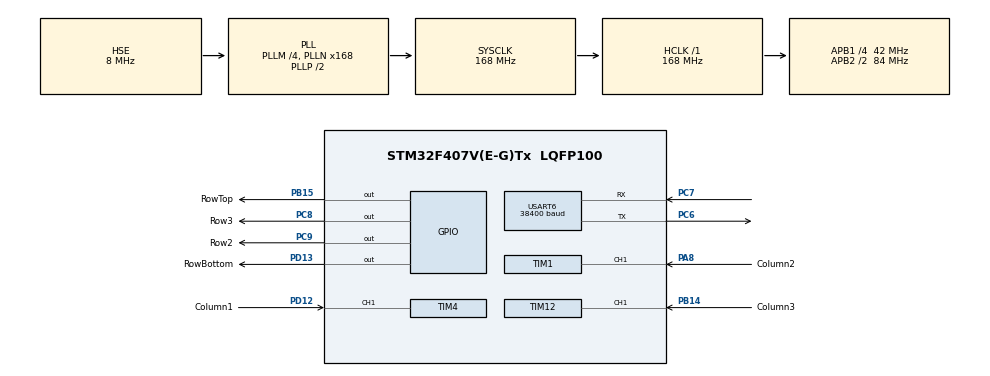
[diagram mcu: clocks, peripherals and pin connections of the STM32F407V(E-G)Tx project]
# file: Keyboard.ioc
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Dma.Request0=USART6_RX
Dma.USART6_RX.0.Direction=DMA_PERIPH_TO_MEMORY
Dma.USART6_RX.0.FIFOMode=DMA_FIFOMODE_DISABLE
Dma.USART6_RX.0.Instance=DMA2_Stream2
Dma.USART6_RX.0.MemDataAlignment=DMA_MDATAALIGN_BYTE
Dma.USART6_RX.0.MemInc=DMA_MINC_ENABLE
Dma.USART6_RX.0.Mode=DMA_NORMAL
Dma.USART6_RX.0.PeriphDataAlignment=DMA_PDATAALIGN_BYTE
Dma.USART6_RX.0.PeriphInc=DMA_PINC_DISABLE
Dma.USART6_RX.0.Priority=DMA_PRIORITY_LOW
FREERTOS.Tasks01=defaultTask,0,128,StartDefaultTask,Default
Mcu.Family=STM32F4
Mcu.Name=STM32F407V(E-G)Tx
Mcu.Package=LQFP100
NVIC.DMA2_Stream2_IRQn=true\:5\:0\:true\:false\:true\:false
NVIC.PriorityGroup=NVIC_PRIORITYGROUP_4
NVIC.TIM1_CC_IRQn=true\:5\:0\:false\:false\:true\:true
NVIC.TIM3_IRQn=true\:5\:0\:true\:false\:true\:false
NVIC.TIM4_IRQn=true\:5\:0\:true\:false\:true\:false
NVIC.TIM8_BRK_TIM12_IRQn=true\:5\:0\:false\:false\:true\:true
NVIC.USART6_IRQn=true\:5\:0\:false\:false\:true\:true
PA8.GPIO_Label=Column2
PA8.GPIO_PuPd=GPIO_PULLDOWN
PA8.Signal=S_TIM1_CH1
PB14.GPIO_Label=Column3
PB14.GPIO_PuPd=GPIO_PULLDOWN
PB14.Signal=S_TIM12_CH1
PB15.GPIO_Label=RowTop
PB15.Signal=GPIO_Output
PC6.Mode=Asynchronous
PC6.Signal=USART6_TX
PC7.Mode=Asynchronous
PC7.Signal=USART6_RX
PC8.GPIO_Label=Row3
PC8.Signal=GPIO_Output
PC9.GPIO_Label=Row2
PC9.Signal=GPIO_Output
PD12.GPIO_Label=Column1
PD12.GPIO_PuPd=GPIO_PULLDOWN
PD12.Signal=S_TIM4_CH1
PD13.GPIO_Label=RowBottom
PD13.Signal=GPIO_Output
PH0-OSC_IN.Mode=HSE-External-Oscillator
PH0-OSC_IN.Signal=RCC_OSC_IN
PH1-OSC_OUT.Mode=HSE-External-Oscillator
PH1-OSC_OUT.Signal=RCC_OSC_OUT
ProjectManager.HeapSize=0x200
ProjectManager.StackSize=0x400
ProjectManager.TargetToolchain=MDK-ARM V5
RCC.48MHZClocksFreq_Value=84000000
RCC.AHBFreq_Value=168000000
RCC.APB1CLKDivider=RCC_HCLK_DIV4
RCC.APB1Freq_Value=42000000
RCC.APB1TimFreq_Value=84000000
RCC.APB2CLKDivider=RCC_HCLK_DIV2
RCC.APB2Freq_Value=84000000
RCC.APB2TimFreq_Value=168000000
RCC.CortexFreq_Value=168000000
RCC.HCLKFreq_Value=168000000
RCC.HSE_VALUE=8000000
RCC.HSI_VALUE=16000000
RCC.LSE_VALUE=32768
RCC.PLLM=4
RCC.PLLN=168
RCC.PLLSourceVirtual=RCC_PLLSOURCE_HSE
RCC.SYSCLKFreq_VALUE=168000000
RCC.SYSCLKSource=RCC_SYSCLKSOURCE_PLLCLK
RCC.VCOOutputFreq_Value=336000000
SH.S_TIM12_CH1.0=TIM12_CH1,TriggerSource_TI1FP1
SH.S_TIM1_CH1.0=TIM1_CH1,TriggerSource_TI1FP1
SH.S_TIM4_CH1.0=TIM4_CH1,TriggerSource_TI1FP1
TIM1.Period=2
TIM12.Period=2
TIM3.ClockDivision=TIM_CLOCKDIVISION_DIV2
TIM3.Period=1000
TIM3.Prescaler=84
TIM3.TIM_MasterOutputTrigger=TIM_TRGO_UPDATE
TIM3.TIM_MasterSlaveMode=TIM_MASTERSLAVEMODE_ENABLE
TIM4.Period=2
TIM4.Prescaler=0
TIM4.TIM_MasterOutputTrigger=TIM_TRGO_RESET
TIM4.TIM_MasterSlaveMode=TIM_MASTERSLAVEMODE_DISABLE
USART6.BaudRate=38400
VP_FREERTOS_VS_ENABLE.Mode=Enabled
VP_TIM12_VS_ControllerModeClock.Mode=Clock Mode
VP_TIM1_VS_ControllerModeClock.Mode=Clock Mode
VP_TIM3_VS_ClockSourceINT.Mode=Internal
VP_TIM4_VS_ControllerModeClock.Mode=Clock Mode
board=Keyboard

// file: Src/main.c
/**
  ******************************************************************************
  * File Name          : main.c
  * Description        : Main program body
  ******************************************************************************
  *
  * COPYRIGHT(c) 2017 STMicroelectronics
  *
  * Redistribution and use in source and binary forms, with or without modification,
  * are permitted provided that the following conditions are met:
  *   1. Redistributions of source code must retain the above copyright notice,
  *      this list of conditions and the following disclaimer.
  *   2. Redistributions in binary form must reproduce the above copyright notice,
  *      this list of conditions and the following disclaimer in the documentation
  *      and/or other materials provided with the distribution.
  *   3. Neither the name of STMicroelectronics nor the names of its contributors
  *      may be used to endorse or promote products derived from this software
  *      without specific prior written permission.
  *
  * THIS SOFTWARE IS PROVIDED BY THE COPYRIGHT HOLDERS AND CONTRIBUTORS "AS IS"
  * AND ANY EXPRESS OR IMPLIED WARRANTIES, INCLUDING, BUT NOT LIMITED TO, THE
  * IMPLIED WARRANTIES OF MERCHANTABILITY AND FITNESS FOR A PARTICULAR PURPOSE ARE
  * DISCLAIMED. IN NO EVENT SHALL THE COPYRIGHT HOLDER OR CONTRIBUTORS BE LIABLE
  * FOR ANY DIRECT, INDIRECT, INCIDENTAL, SPECIAL, EXEMPLARY, OR CONSEQUENTIAL
  * DAMAGES (INCLUDING, BUT NOT LIMITED TO, PROCUREMENT OF SUBSTITUTE GOODS OR
  * SERVICES; LOSS OF USE, DATA, OR PROFITS; OR BUSINESS INTERRUPTION) HOWEVER
  * CAUSED AND ON ANY THEORY OF LIABILITY, WHETHER IN CONTRACT, STRICT LIABILITY,
  * OR TORT (INCLUDING NEGLIGENCE OR OTHERWISE) ARISING IN ANY WAY OUT OF THE USE
  * OF THIS SOFTWARE, EVEN IF ADVISED OF THE POSSIBILITY OF SUCH DAMAGE.
  *
  ******************************************************************************
  */
#include "stm32f4xx_hal.h"
#include "cmsis_os.h"

/* USER CODE BEGIN Includes */
typedef struct _port_def_{
	GPIO_TypeDef *Port;
	uint16_t pin;
} PortDef;
/* USER CODE END Includes */

TIM_HandleTypeDef htim1;
TIM_HandleTypeDef htim3;
TIM_HandleTypeDef htim4;
TIM_HandleTypeDef htim12;

UART_HandleTypeDef huart6;
DMA_HandleTypeDef hdma_usart6_rx;

osThreadId defaultTaskHandle;

/* USER CODE BEGIN PV */
/* Private variables ---------------------------------------------------------*/
volatile uint8_t y = 0;
uint8_t iButton[12];

const uint8_t key = 0xFF;
const uint8_t keymap[4][3] = {{1, 2, 3}, {4, 5, 6}, {7, 8, 9}, {KEYBOARD_STAR, 0, KEYBOARD_SHARP}};
const PortDef port[] = {
		{RowTop_GPIO_Port, RowTop_Pin},
		{Row2_GPIO_Port, Row2_Pin},
		{Row3_GPIO_Port, Row3_Pin},
		{RowBottom_GPIO_Port, RowBottom_Pin}
};

xQueueHandle controlQueue;
/* USER CODE END PV */

void SystemClock_Config(void);
void Error_Handler(void);
static void MX_GPIO_Init(void);
static void MX_DMA_Init(void);
static void MX_TIM3_Init(void);
static void MX_USART6_UART_Init(void);
static void MX_TIM4_Init(void);
static void MX_TIM1_Init(void);
static void MX_TIM12_Init(void);
void StartDefaultTask(void const * argument);

/* USER CODE BEGIN PFP */
/* Private function prototypes -----------------------------------------------*/

/* USER CODE END PFP */

/* USER CODE BEGIN 0 */
void HAL_TIM_OC_DelayElapsedCallback(TIM_HandleTypeDef *htim)
{
	BaseType_t pxHigherPriorityTaskWoken;

	HAL_TIM_Base_Stop(&htim3);

	if(htim == &htim4)
	{
		xQueueSendToBackFromISR(controlQueue, &(keymap[y - 1][0]), &pxHigherPriorityTaskWoken);
		while(HAL_GPIO_ReadPin(Column1_GPIO_Port, Column1_Pin)){}
	}
	else if(htim == &htim1)
	{
		xQueueSendToBackFromISR(controlQueue, &(keymap[y - 1][1]), &pxHigherPriorityTaskWoken);
		while(HAL_GPIO_ReadPin(Column2_GPIO_Port, Column2_Pin)){}
	}
	else if(htim == &htim12)
	{
		xQueueSendToBackFromISR(controlQueue, &(keymap[y - 1][2]), &pxHigherPriorityTaskWoken);
		while(HAL_GPIO_ReadPin(Column3_GPIO_Port, Column3_Pin)){}
	}

	HAL_TIM_Base_Start(&htim3);

	if( pxHigherPriorityTaskWoken == pdTRUE )
	{
		taskYIELD ();
	}
}

void HAL_TIM_PeriodElapsedCallback(TIM_HandleTypeDef *htim)
{
	if(y == 4)
	{
		__HAL_TIM_SET_AUTORELOAD(htim, 4000);
		HAL_GPIO_WritePin(port[y-1].Port, port[y-1].pin, GPIO_PIN_RESET);
		y = 0;
	}
	else if(y == 0){
		__HAL_TIM_SET_AUTORELOAD(htim, 4000);
		HAL_GPIO_WritePin(port[y].Port, port[y].pin, GPIO_PIN_SET);
		y++;
	}
	else
	{
		HAL_GPIO_WritePin(port[y-1].Port, port[y-1].pin, GPIO_PIN_RESET);
		HAL_GPIO_WritePin(port[y].Port, port[y].pin, GPIO_PIN_SET);
		y++;
	}
}

void HAL_UART_RxCpltCallback(UART_HandleTypeDef *huart)
{
	BaseType_t pxHigherPriorityTaskWoken;

	xQueueSendToFrontFromISR(controlQueue, &key, &pxHigherPriorityTaskWoken);

	HAL_UART_Receive_DMA(&huart6, iButton, KEY_LENGTH * 2);

	if( pxHigherPriorityTaskWoken == pdTRUE )
	{
		taskYIELD ();
	}
}

/* USER CODE END 0 */

int main(void)
{

  /* MCU Configuration----------------------------------------------------------*/

  /* Reset of all peripherals, Initializes the Flash interface and the Systick. */
  HAL_Init();

  /* Configure the system clock */
  SystemClock_Config();

  /* Initialize all configured peripherals */
  MX_GPIO_Init();
  MX_DMA_Init();
  MX_TIM3_Init();
  MX_USART6_UART_Init();
  MX_TIM4_Init();
  MX_TIM1_Init();
  MX_TIM12_Init();

  /* USER CODE BEGIN 2 */
	HAL_GPIO_WritePin(RowTop_GPIO_Port, RowTop_Pin, GPIO_PIN_SET);

	__HAL_TIM_ENABLE_IT(&htim4, TIM_IT_CC1);
	__HAL_TIM_SET_COMPARE(&htim4, TIM_CHANNEL_1, 1);
	__HAL_TIM_SET_AUTORELOAD(&htim4, ARR_value);

	__HAL_TIM_ENABLE_IT(&htim1, TIM_IT_CC1);
	__HAL_TIM_SET_COMPARE(&htim1, TIM_CHANNEL_1, 1);
	__HAL_TIM_SET_AUTORELOAD(&htim1, ARR_value);

	__HAL_TIM_ENABLE_IT(&htim12, TIM_IT_CC1);
	__HAL_TIM_SET_COMPARE(&htim12, TIM_CHANNEL_1, 1);
	__HAL_TIM_SET_AUTORELOAD(&htim12, ARR_value);

	__HAL_TIM_ENABLE_IT(&htim3, TIM_IT_UPDATE);
  /* USER CODE END 2 */

  /* Create the thread(s) */
  /* definition and creation of defaultTask */
  osThreadDef(defaultTask, StartDefaultTask, osPriorityNormal, 0, 128);
  defaultTaskHandle = osThreadCreate(osThread(defaultTask), NULL);

  /* USER CODE BEGIN RTOS_QUEUES */
  /* add queues, ... */
	controlQueue = xQueueCreate(ROOM_NUMBER_LENGTH + 2, sizeof(uint8_t));
  /* USER CODE END RTOS_QUEUES */

  /* Start scheduler */
  osKernelStart();

  /* We should never get here as control is now taken by the scheduler */

  /* Infinite loop */
  while (1)
  {

  }

}

/** System Clock Configuration
*/
void SystemClock_Config(void)
{

  RCC_OscInitTypeDef RCC_OscInitStruct;
  RCC_ClkInitTypeDef RCC_ClkInitStruct;

  __HAL_RCC_PWR_CLK_ENABLE();

  __HAL_PWR_VOLTAGESCALING_CONFIG(PWR_REGULATOR_VOLTAGE_SCALE1);

  RCC_OscInitStruct.OscillatorType = RCC_OSCILLATORTYPE_HSE;
  RCC_OscInitStruct.HSEState = RCC_HSE_ON;
  RCC_OscInitStruct.PLL.PLLState = RCC_PLL_ON;
  RCC_OscInitStruct.PLL.PLLSource = RCC_PLLSOURCE_HSE;
  RCC_OscInitStruct.PLL.PLLM = 4;
  RCC_OscInitStruct.PLL.PLLN = 168;
  RCC_OscInitStruct.PLL.PLLP = RCC_PLLP_DIV2;
  RCC_OscInitStruct.PLL.PLLQ = 4;
  if (HAL_RCC_OscConfig(&RCC_OscInitStruct) != HAL_OK)
  {
    Error_Handler();
  }

  RCC_ClkInitStruct.ClockType = RCC_CLOCKTYPE_HCLK|RCC_CLOCKTYPE_SYSCLK
                              |RCC_CLOCKTYPE_PCLK1|RCC_CLOCKTYPE_PCLK2;
  RCC_ClkInitStruct.SYSCLKSource = RCC_SYSCLKSOURCE_PLLCLK;
  RCC_ClkInitStruct.AHBCLKDivider = RCC_SYSCLK_DIV1;
  RCC_ClkInitStruct.APB1CLKDivider = RCC_HCLK_DIV4;
  RCC_ClkInitStruct.APB2CLKDivider = RCC_HCLK_DIV2;
  if (HAL_RCC_ClockConfig(&RCC_ClkInitStruct, FLASH_LATENCY_5) != HAL_OK)
  {
    Error_Handler();
  }

  HAL_SYSTICK_Config(HAL_RCC_GetHCLKFreq()/1000);

  HAL_SYSTICK_CLKSourceConfig(SYSTICK_CLKSOURCE_HCLK);

  /* SysTick_IRQn interrupt configuration */
  HAL_NVIC_SetPriority(SysTick_IRQn, 15, 0);
}

/* TIM1 init function */
static void MX_TIM1_Init(void)
{

  TIM_SlaveConfigTypeDef sSlaveConfig;
  TIM_MasterConfigTypeDef sMasterConfig;

  htim1.Instance = TIM1;
  htim1.Init.Prescaler = 0;
  htim1.Init.CounterMode = TIM_COUNTERMODE_UP;
  htim1.Init.Period = 2;
  htim1.Init.ClockDivision = TIM_CLOCKDIVISION_DIV1;
  htim1.Init.RepetitionCounter = 0;
  if (HAL_TIM_Base_Init(&htim1) != HAL_OK)
  {
    Error_Handler();
  }

  sSlaveConfig.SlaveMode = TIM_SLAVEMODE_EXTERNAL1;
  sSlaveConfig.InputTrigger = TIM_TS_TI1FP1;
  sSlaveConfig.TriggerPolarity = TIM_TRIGGERPOLARITY_RISING;
  sSlaveConfig.TriggerFilter = 0;
  if (HAL_TIM_SlaveConfigSynchronization(&htim1, &sSlaveConfig) != HAL_OK)
  {
    Error_Handler();
  }

  sMasterConfig.MasterOutputTrigger = TIM_TRGO_RESET;
  sMasterConfig.MasterSlaveMode = TIM_MASTERSLAVEMODE_DISABLE;
  if (HAL_TIMEx_MasterConfigSynchronization(&htim1, &sMasterConfig) != HAL_OK)
  {
    Error_Handler();
  }

}

/* TIM3 init function */
static void MX_TIM3_Init(void)
{

  TIM_ClockConfigTypeDef sClockSourceConfig;
  TIM_MasterConfigTypeDef sMasterConfig;

  htim3.Instance = TIM3;
  htim3.Init.Prescaler = 84;
  htim3.Init.CounterMode = TIM_COUNTERMODE_UP;
  htim3.Init.Period = 1000;
  htim3.Init.ClockDivision = TIM_CLOCKDIVISION_DIV2;
  if (HAL_TIM_Base_Init(&htim3) != HAL_OK)
  {
    Error_Handler();
  }

  sClockSourceConfig.ClockSource = TIM_CLOCKSOURCE_INTERNAL;
  if (HAL_TIM_ConfigClockSource(&htim3, &sClockSourceConfig) != HAL_OK)
  {
    Error_Handler();
  }

  sMasterConfig.MasterOutputTrigger = TIM_TRGO_UPDATE;
  sMasterConfig.MasterSlaveMode = TIM_MASTERSLAVEMODE_ENABLE;
  if (HAL_TIMEx_MasterConfigSynchronization(&htim3, &sMasterConfig) != HAL_OK)
  {
    Error_Handler();
  }

}

/* TIM4 init function */
static void MX_TIM4_Init(void)
{

  TIM_SlaveConfigTypeDef sSlaveConfig;
  TIM_MasterConfigTypeDef sMasterConfig;

  htim4.Instance = TIM4;
  htim4.Init.Prescaler = 0;
  htim4.Init.CounterMode = TIM_COUNTERMODE_UP;
  htim4.Init.Period = 2;
  htim4.Init.ClockDivision = TIM_CLOCKDIVISION_DIV1;
  if (HAL_TIM_Base_Init(&htim4) != HAL_OK)
  {
    Error_Handler();
  }

  sSlaveConfig.SlaveMode = TIM_SLAVEMODE_EXTERNAL1;
  sSlaveConfig.InputTrigger = TIM_TS_TI1FP1;
  sSlaveConfig.TriggerPolarity = TIM_TRIGGERPOLARITY_RISING;
  sSlaveConfig.TriggerFilter = 0;
  if (HAL_TIM_SlaveConfigSynchronization(&htim4, &sSlaveConfig) != HAL_OK)
  {
    Error_Handler();
  }

  sMasterConfig.MasterOutputTrigger = TIM_TRGO_RESET;
  sMasterConfig.MasterSlaveMode = TIM_MASTERSLAVEMODE_DISABLE;
  if (HAL_TIMEx_MasterConfigSynchronization(&htim4, &sMasterConfig) != HAL_OK)
  {
    Error_Handler();
  }

}

/* TIM12 init function */
static void MX_TIM12_Init(void)
{

  TIM_SlaveConfigTypeDef sSlaveConfig;

  htim12.Instance = TIM12;
  htim12.Init.Prescaler = 0;
  htim12.Init.CounterMode = TIM_COUNTERMODE_UP;
  htim12.Init.Period = 2;
  htim12.Init.ClockDivision = TIM_CLOCKDIVISION_DIV1;
  if (HAL_TIM_Base_Init(&htim12) != HAL_OK)
  {
    Error_Handler();
  }

  sSlaveConfig.SlaveMode = TIM_SLAVEMODE_EXTERNAL1;
  sSlaveConfig.InputTrigger = TIM_TS_TI1FP1;
  sSlaveConfig.TriggerPolarity = TIM_TRIGGERPOLARITY_RISING;
  sSlaveConfig.TriggerFilter = 0;
  if (HAL_TIM_SlaveConfigSynchronization(&htim12, &sSlaveConfig) != HAL_OK)
  {
    Error_Handler();
  }

}

/* USART6 init function */
static void MX_USART6_UART_Init(void)
{

  huart6.Instance = USART6;
  huart6.Init.BaudRate = 38400;
  huart6.Init.WordLength = UART_WORDLENGTH_8B;
  huart6.Init.StopBits = UART_STOPBITS_1;
  huart6.Init.Parity = UART_PARITY_NONE;
  huart6.Init.Mode = UART_MODE_TX_RX;
  huart6.Init.HwFlowCtl = UART_HWCONTROL_NONE;
  huart6.Init.OverSampling = UART_OVERSAMPLING_16;
  if (HAL_UART_Init(&huart6) != HAL_OK)
  {
    Error_Handler();
  }

}

static void MX_DMA_Init(void)
{
  /* DMA controller clock enable */
  __HAL_RCC_DMA2_CLK_ENABLE();

  /* DMA interrupt init */
  /* DMA2_Stream2_IRQn interrupt configuration */
  HAL_NVIC_SetPriority(DMA2_Stream2_IRQn, 5, 0);
  HAL_NVIC_EnableIRQ(DMA2_Stream2_IRQn);

}

/** Configure pins as
        * Analog
        * Input
        * Output
        * EVENT_OUT
        * EXTI
*/
static void MX_GPIO_Init(void)
{

  GPIO_InitTypeDef GPIO_InitStruct;

  /* GPIO Ports Clock Enable */
  __HAL_RCC_GPIOH_CLK_ENABLE();
  __HAL_RCC_GPIOB_CLK_ENABLE();
  __HAL_RCC_GPIOD_CLK_ENABLE();
  __HAL_RCC_GPIOC_CLK_ENABLE();
  __HAL_RCC_GPIOA_CLK_ENABLE();

  /*Configure GPIO pin Output Level */
  HAL_GPIO_WritePin(RowTop_GPIO_Port, RowTop_Pin, GPIO_PIN_RESET);

  /*Configure GPIO pin Output Level */
  HAL_GPIO_WritePin(RowBottom_GPIO_Port, RowBottom_Pin, GPIO_PIN_RESET);

  /*Configure GPIO pin Output Level */
  HAL_GPIO_WritePin(GPIOC, Row3_Pin|Row2_Pin, GPIO_PIN_RESET);

  /*Configure GPIO pin : RowTop_Pin */
  GPIO_InitStruct.Pin = RowTop_Pin;
  GPIO_InitStruct.Mode = GPIO_MODE_OUTPUT_PP;
  GPIO_InitStruct.Pull = GPIO_NOPULL;
  GPIO_InitStruct.Speed = GPIO_SPEED_FREQ_LOW;
  HAL_GPIO_Init(RowTop_GPIO_Port, &GPIO_InitStruct);

  /*Configure GPIO pin : RowBottom_Pin */
  GPIO_InitStruct.Pin = RowBottom_Pin;
  GPIO_InitStruct.Mode = GPIO_MODE_OUTPUT_PP;
  GPIO_InitStruct.Pull = GPIO_NOPULL;
  GPIO_InitStruct.Speed = GPIO_SPEED_FREQ_LOW;
  HAL_GPIO_Init(RowBottom_GPIO_Port, &GPIO_InitStruct);

  /*Configure GPIO pins : Row3_Pin Row2_Pin */
  GPIO_InitStruct.Pin = Row3_Pin|Row2_Pin;
  GPIO_InitStruct.Mode = GPIO_MODE_OUTPUT_PP;
  GPIO_InitStruct.Pull = GPIO_NOPULL;
  GPIO_InitStruct.Speed = GPIO_SPEED_FREQ_LOW;
  HAL_GPIO_Init(GPIOC, &GPIO_InitStruct);

}

/* USER CODE BEGIN 4 */
error_key_code validate_key(uint8_t *key, uint8_t size){
	uint8_t i = 0;

	for(i = 0; i < KEY_LENGTH * 2; i += 2)
	{
		if( (((key[i] ^ (key[i] >> 4)) & 0x0F) == 0x0F) &&
				(((key[i+1] ^ (key[i+1] >> 4)) & 0x0F) == 0x0F))
		{
			key[i / 2] = (key[i] & 0x0F) | ( (key[i + 1] << 4) );
		}
		else
		{
			return ERROR_WRONG;
		}
	}
	return ERROR_OK;
}

void send_message(uint8_t *data, uint8_t size, uint8_t isKey)
{

}
/* USER CODE END 4 */

/* StartDefaultTask function */
void StartDefaultTask(void const * argument)
{

  /* USER CODE BEGIN 5 */
	uint8_t key[ROOM_NUMBER_LENGTH];
	uint8_t trash;
	uint8_t key_error = KEY_ERROR;
	uint8_t *pointer = key;

	HAL_TIM_Base_Start(&htim3);
	HAL_TIM_Base_Start(&htim4);
	HAL_TIM_Base_Start(&htim1);
	HAL_TIM_Base_Start(&htim12);
	HAL_UART_Receive_DMA(&huart6, iButton, KEY_LENGTH * 2);
  /* Infinite loop */
  for(;;)
  {
		xQueueReceive( controlQueue, pointer, portMAX_DELAY );

		switch(*(pointer++)){
			case KEYBOARD_STAR :
				send_message(key, (pointer == (&trash) + 1 ) ?  sizeof(key) : (uint8_t)(pointer - key - 1), 0);
				pointer = key;
			break;
			case KEYBOARD_SHARP :
				pointer = key;
			break;
			case KEY_FLAG :
				pointer = key;
				if(validate_key(iButton, KEY_LENGTH * 2))
				{
					send_message(iButton, KEY_LENGTH, 1);
				}
				else
				{
					HAL_UART_Transmit(&huart6, &key_error, 1, 0xFF);
				}
			break;
			default :
				if( (pointer > key + ROOM_NUMBER_LENGTH) || (pointer == (&trash) + 1 ) ){
					pointer = &trash;
				}
				continue;
		}
  }
  /* USER CODE END 5 */
}

void Error_Handler(void)
{
  while(1)
  {
  }
}

/************************ (C) COPYRIGHT STMicroelectronics *****END OF FILE****/
